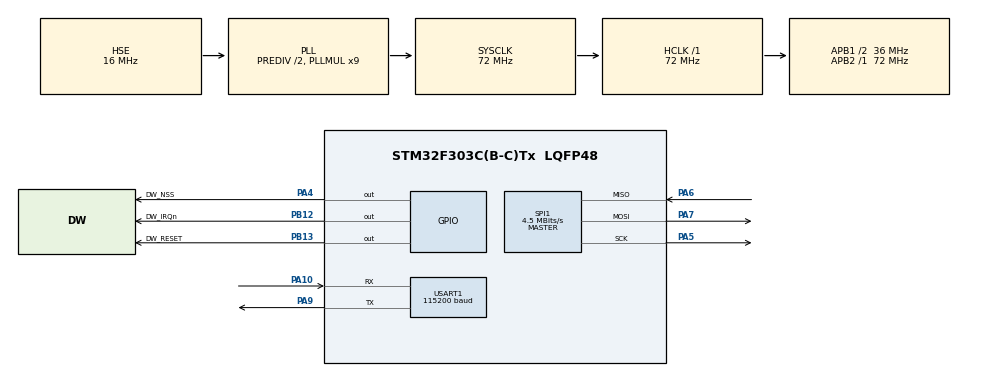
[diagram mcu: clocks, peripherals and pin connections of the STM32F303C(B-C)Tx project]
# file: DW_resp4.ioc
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Dma.Request0=USART1_TX
Dma.USART1_TX.0.Direction=DMA_MEMORY_TO_PERIPH
Dma.USART1_TX.0.Instance=DMA1_Channel4
Dma.USART1_TX.0.MemDataAlignment=DMA_MDATAALIGN_BYTE
Dma.USART1_TX.0.MemInc=DMA_MINC_ENABLE
Dma.USART1_TX.0.Mode=DMA_NORMAL
Dma.USART1_TX.0.PeriphDataAlignment=DMA_PDATAALIGN_BYTE
Dma.USART1_TX.0.PeriphInc=DMA_PINC_DISABLE
Dma.USART1_TX.0.Priority=DMA_PRIORITY_LOW
Mcu.Family=STM32F3
Mcu.Name=STM32F303C(B-C)Tx
Mcu.Package=LQFP48
NVIC.DMA1_Channel4_IRQn=true\:0\:0\:false\:false\:true\:false\:true\:true
NVIC.PriorityGroup=NVIC_PRIORITYGROUP_4
PA10.Mode=Asynchronous
PA10.Signal=USART1_RX
PA13.Mode=Serial_Wire
PA13.Signal=SYS_JTMS-SWDIO
PA14.Mode=Serial_Wire
PA14.Signal=SYS_JTCK-SWCLK
PA4.GPIO_Label=DW_NSS
PA4.Signal=GPIO_Output
PA5.Mode=Full_Duplex_Master
PA5.Signal=SPI1_SCK
PA6.Mode=Full_Duplex_Master
PA6.Signal=SPI1_MISO
PA7.Mode=Full_Duplex_Master
PA7.Signal=SPI1_MOSI
PA9.Mode=Asynchronous
PA9.Signal=USART1_TX
PB12.GPIO_Label=DW_IRQn
PB12.Signal=GPIO_Output
PB13.GPIO_Label=DW_RESET
PB13.Signal=GPIO_Output
PF0-OSC_IN.Mode=HSE-External-Oscillator
PF0-OSC_IN.Signal=RCC_OSC_IN
PF1-OSC_OUT.Mode=HSE-External-Oscillator
PF1-OSC_OUT.Signal=RCC_OSC_OUT
ProjectManager.HeapSize=0x200
ProjectManager.StackSize=0x400
ProjectManager.TargetToolchain=Makefile
RCC.AHBFreq_Value=72000000
RCC.APB1CLKDivider=RCC_HCLK_DIV2
RCC.APB1Freq_Value=36000000
RCC.APB1TimFreq_Value=72000000
RCC.APB2Freq_Value=72000000
RCC.APB2TimFreq_Value=72000000
RCC.CortexFreq_Value=72000000
RCC.HCLKFreq_Value=72000000
RCC.HSE_VALUE=16000000
RCC.HSI_VALUE=8000000
RCC.LSE_VALUE=32768
RCC.PLLMUL=RCC_PLL_MUL9
RCC.PLLSourceVirtual=RCC_PLLSOURCE_HSE
RCC.RCC_PLLsource_Clock_Source_FROM_HSE=RCC_HSE_PREDIV_DIV2
RCC.SYSCLKFreq_VALUE=72000000
RCC.SYSCLKSourceVirtual=RCC_SYSCLKSOURCE_PLLCLK
RCC.USBFreq_Value=72000000
SPI1.BaudRatePrescaler=SPI_BAUDRATEPRESCALER_16
SPI1.CalculateBaudRate=4.5 MBits/s
SPI1.DataSize=SPI_DATASIZE_8BIT
SPI1.Direction=SPI_DIRECTION_2LINES
SPI1.Mode=SPI_MODE_MASTER
SPI1.VirtualType=VM_MASTER
TIM2.Period=65535
TIM2.Prescaler=71
USART1.BaudRate=115200
USART1.VirtualMode-Asynchronous=VM_ASYNC
VP_TIM2_VS_ClockSourceINT.Mode=Internal
board=custom

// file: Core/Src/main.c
/* USER CODE BEGIN Header */
/**
  ******************************************************************************
  * @file           : main.c
  * @brief          : Main program body
  ******************************************************************************
  * @attention
  *
  * Copyright (c) 2025 STMicroelectronics.
  * All rights reserved.
  *
  * This software is licensed under terms that can be found in the LICENSE file
  * in the root directory of this software component.
  * If no LICENSE file comes with this software, it is provided AS-IS.
  *
  ******************************************************************************
  */
/* USER CODE END Header */
#include "main.h"
#include "dma.h"
#include "spi.h"
#include "tim.h"
#include "usart.h"
#include "gpio.h"

/* USER CODE BEGIN Includes */
#include "examples_defines.h"
#include "port.h"
#include "string.h"
/* USER CODE END Includes */

/* USER CODE BEGIN PD */
void test_run_info(unsigned char *data);
void Send_Float_Over_UART(float *number);
/* USER CODE END PD */

/* USER CODE BEGIN PV */
extern example_ptr example_pointer;

/* USER CODE END PV */

void SystemClock_Config(void);

int main(void)
{

  /* USER CODE BEGIN 1 */
  build_examples();

  /* USER CODE END 1 */

  /* MCU Configuration--------------------------------------------------------*/

  /* Reset of all peripherals, Initializes the Flash interface and the Systick. */
  HAL_Init();

  /* Configure the system clock */
  SystemClock_Config();

  /* Initialize all configured peripherals */
  MX_GPIO_Init();
  MX_DMA_Init();
  MX_USART1_UART_Init();
  MX_SPI1_Init();
  MX_TIM2_Init();
  /* USER CODE BEGIN 2 */
  port_DisableEXT_IRQ();
  example_pointer();
  /* USER CODE END 2 */

  /* Infinite loop */
  while (1)
  {

  }
}

void SystemClock_Config(void)
{
  RCC_OscInitTypeDef RCC_OscInitStruct = {0};
  RCC_ClkInitTypeDef RCC_ClkInitStruct = {0};
  RCC_PeriphCLKInitTypeDef PeriphClkInit = {0};

  /** Initializes the RCC Oscillators according to the specified parameters
  * in the RCC_OscInitTypeDef structure.
  */
  RCC_OscInitStruct.OscillatorType = RCC_OSCILLATORTYPE_HSE;
  RCC_OscInitStruct.HSEState = RCC_HSE_ON;
  RCC_OscInitStruct.HSEPredivValue = RCC_HSE_PREDIV_DIV2;
  RCC_OscInitStruct.HSIState = RCC_HSI_ON;
  RCC_OscInitStruct.PLL.PLLState = RCC_PLL_ON;
  RCC_OscInitStruct.PLL.PLLSource = RCC_PLLSOURCE_HSE;
  RCC_OscInitStruct.PLL.PLLMUL = RCC_PLL_MUL9;
  if (HAL_RCC_OscConfig(&RCC_OscInitStruct) != HAL_OK)
  {
    Error_Handler();
  }

  /** Initializes the CPU, AHB and APB buses clocks
  */
  RCC_ClkInitStruct.ClockType = RCC_CLOCKTYPE_HCLK|RCC_CLOCKTYPE_SYSCLK
                              |RCC_CLOCKTYPE_PCLK1|RCC_CLOCKTYPE_PCLK2;
  RCC_ClkInitStruct.SYSCLKSource = RCC_SYSCLKSOURCE_PLLCLK;
  RCC_ClkInitStruct.AHBCLKDivider = RCC_SYSCLK_DIV1;
  RCC_ClkInitStruct.APB1CLKDivider = RCC_HCLK_DIV2;
  RCC_ClkInitStruct.APB2CLKDivider = RCC_HCLK_DIV1;

  if (HAL_RCC_ClockConfig(&RCC_ClkInitStruct, FLASH_LATENCY_2) != HAL_OK)
  {
    Error_Handler();
  }
  PeriphClkInit.PeriphClockSelection = RCC_PERIPHCLK_USART1;
  PeriphClkInit.Usart1ClockSelection = RCC_USART1CLKSOURCE_PCLK2;
  if (HAL_RCCEx_PeriphCLKConfig(&PeriphClkInit) != HAL_OK)
  {
    Error_Handler();
  }
}

/* USER CODE BEGIN 4 */
void test_run_info(unsigned char *data)
{
    uint16_t    data_length;

    data_length=strlen((const char *)data);
    HAL_UART_Transmit(&huart1, data, data_length, 10);/*Transmit the data through USB - Virtual port*/
    HAL_UART_Transmit(&huart1, (uint8_t*)"\n\r", 2, 10);/*Transmit end of line through USB - Virtual port*/

}

void Send_Float_Over_UART(float *number) {
  uint8_t buffer[4];  // Float is 4 bytes in size

  // Copy the float into the buffer
  memcpy(buffer, &number, sizeof(float));

  // Send the buffer over UART
  HAL_UART_Transmit(&huart1, buffer, sizeof(float), HAL_MAX_DELAY);
}

/* USER CODE END 4 */

void Error_Handler(void)
{
  __disable_irq();
  while (1)
  {
  }
}
